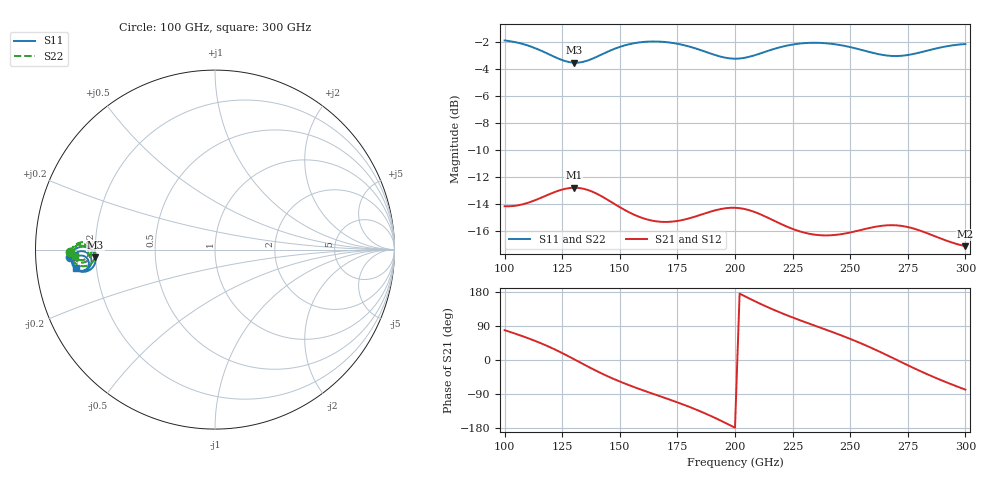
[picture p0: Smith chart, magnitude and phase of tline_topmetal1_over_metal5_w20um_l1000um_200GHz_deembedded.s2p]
! Created with skrf 2.0.1 (http://scikit-rf.org).
# GHz S DB R 50.0
!freq dBS11 angS11 dBS21 angS21 dBS12 angS12 dBS22 angS22
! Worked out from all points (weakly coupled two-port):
!   101 points, 100 GHz to 300 GHz, reference 50 ohm
!   highest |S21| = -12.80 dB at 130 GHz (marker M1); lowest = -17.1 dB at 300 GHz (marker M2)
!   lowest |S11| = -3.5 dB at 130 GHz (marker M3), VSWR 5.01, Z = 9.98 - j1.54 ohm
!   |S11| at or under -10 dB: nowhere
!   |S22| runs from -3.5 to -1.9 dB; largest |S21 - S12| = 1.6e-16
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100  -1.86 -177.3  -14.18 78.7  -14.18 78.7  -1.86 -178.9
116  -2.63 178.7  -13.54 43.6  -13.54 43.6  -2.63 176.8
122  -3.11 179.5  -13.11 27.2  -13.11 27.2  -3.11 177.5
130  -3.51 -176.3  -12.80 2.5  -12.80 2.5  -3.52 -178.5
134  -3.45 -173.7  -12.87 -10.4  -12.87 -10.4  -3.46 -175.9
142  -2.91 -170.5  -13.43 -35.2  -13.43 -35.2  -2.92 -172.9
148  -2.46 -170.6  -14.04 -51.7  -14.04 -51.7  -2.47 -173.0
158  -2.01 -173.0  -14.94 -75.5  -14.94 -75.5  -2.02 -175.6
168  -1.95 -176.1  -15.34 -96.8  -15.34 -96.8  -1.96 -178.9
178  -2.22 -178.6  -15.17 -118.6  -15.17 -118.6  -2.22 178.4
186  -2.63 -179.3  -14.77 -138.3  -14.77 -138.3  -2.64 177.6
194  -3.07 -177.7  -14.38 -160.6  -14.38 -160.6  -3.08 179.0
200  -3.21 -175.1  -14.29 -178.7  -14.29 -178.7  -3.23 -178.4
206  -3.08 -172.5  -14.47 163.0  -14.47 163.0  -3.09 -175.9
216  -2.54 -170.9  -15.18 134.6  -15.18 134.6  -2.55 -174.4
234  -2.03 -174.2  -16.28 92.0  -16.28 92.0  -2.04 -178.1
252  -2.43 -177.5  -16.05 50.8  -16.05 50.8  -2.45 178.4
260  -2.79 -176.9  -15.74 29.7  -15.74 29.7  -2.80 178.8
268  -3.01 -174.7  -15.59 6.8  -15.59 6.8  -3.03 -179.1
276  -2.91 -172.1  -15.77 -16.7  -15.77 -16.7  -2.93 -176.6
284  -2.59 -170.8  -16.22 -39.0  -16.22 -39.0  -2.61 -175.5
300  -2.13 -172.6  -17.15 -78.3  -17.15 -78.3  -2.14 -177.5
